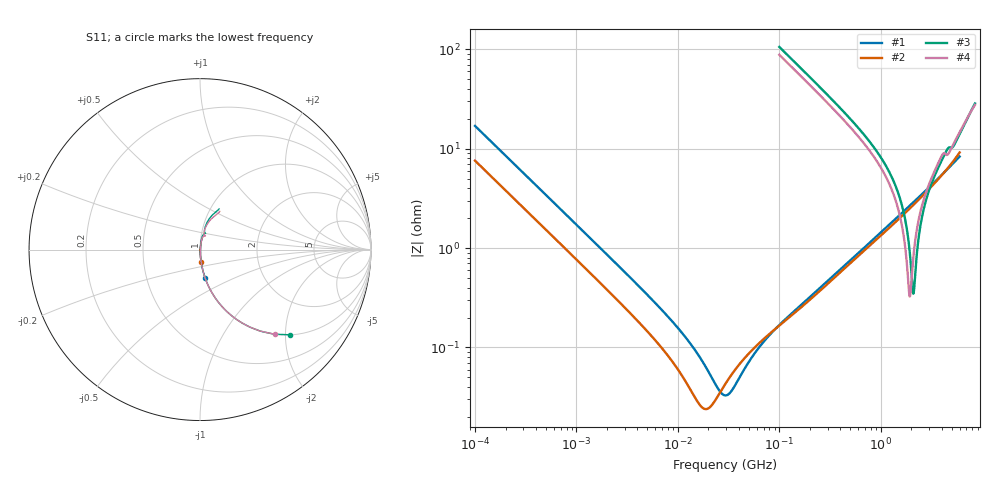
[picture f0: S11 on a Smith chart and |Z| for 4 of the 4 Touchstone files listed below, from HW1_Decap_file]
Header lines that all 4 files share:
!These Parameters are Measured in Series Mode Connection
!  o--ll--o
!Port1  Port2
!  o------o
!Operation Temp=25[C], DC Bias Voltage=0[V]
# Hz S RI R 50
!Freq.(Hz) S11(Real) S11(Imag) S21(Real) S21(Imag) S12(Real) S12(Imag) S22(Real) S22(Imag)
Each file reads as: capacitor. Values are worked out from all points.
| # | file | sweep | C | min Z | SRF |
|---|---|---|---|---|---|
| 1 | C1.s2p | 100 kHz to 6 GHz | 93.6 nF | 32.9 mohm | 29.97 MHz |
| 2 | C2.s2p | 100 kHz to 6 GHz | 209 nF | 24 mohm | 19.36 MHz |
| 3 | C3.s2p | 100 MHz to 8.5 GHz | 15 pF | 347 mohm | 2.101 GHz |
| 4 | C4.s2p | 100 MHz to 8.5 GHz | 18 pF | 326 mohm | 1.937 GHz |
